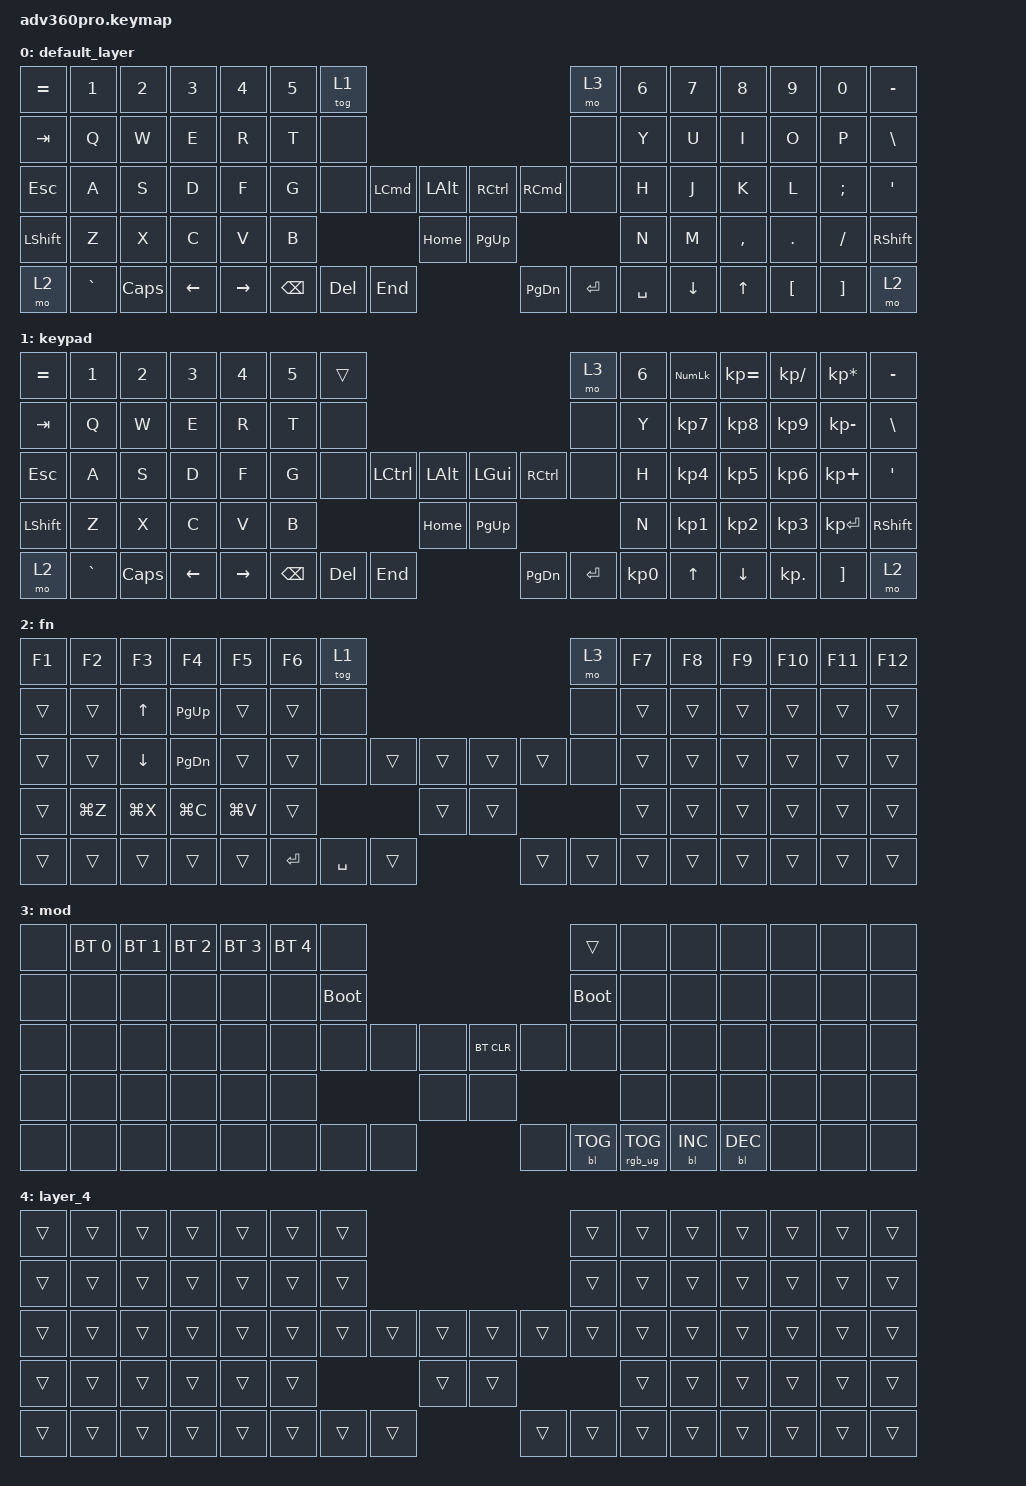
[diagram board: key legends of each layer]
#include <behaviors.dtsi>
#include <dt-bindings/zmk/backlight.h>
#include <dt-bindings/zmk/bt.h>
#include <dt-bindings/zmk/keys.h>
#include <dt-bindings/zmk/rgb.h>

/ {
    combos {
        compatible = "zmk,combos";

        handtoolfordesignprograms {
            bindings = <&kp ENTER>;
            key-positions = <46 28>;
        };
    };

    keymap {
        compatible = "zmk,keymap";

        default_layer {
            bindings = <
&kp EQUAL  &kp N1     &kp N2    &kp N3    &kp N4     &kp N5  &tog 1                                                                                                    &mo 3  &kp N6  &kp N7    &kp N8     &kp N9    &kp N0    &kp MINUS
&kp TAB    &kp Q      &kp W     &kp E     &kp R      &kp T   &none                                                                                                     &none  &kp Y   &kp U     &kp I      &kp O     &kp P     &kp BSLH
&kp ESC    &kp A      &kp S     &kp D     &kp F      &kp G   &none                  &kp LEFT_COMMAND  &kp LEFT_ALT    &kp RIGHT_CONTROL  &kp RIGHT_COMMAND             &none  &kp H   &kp J     &kp K      &kp L     &kp SEMI  &kp SQT
&kp LSHFT  &kp Z      &kp X     &kp C     &kp V      &kp B                                            &kp HOME        &kp PG_UP                                               &kp N   &kp M     &kp COMMA  &kp DOT   &kp FSLH  &kp RSHFT
&mo 2      &kp GRAVE  &kp CAPS  &kp LEFT  &kp RIGHT                  &kp BACKSPACE  &kp DEL           &kp END         &kp PG_DN          &kp ENTER          &kp SPACE                 &kp DOWN  &kp UP     &kp LBKT  &kp RBKT  &mo 2
            >;
        };

        keypad {
            bindings = <
&kp EQUAL  &kp N1     &kp N2    &kp N3    &kp N4     &kp N5  &trans                                                                    &mo 3  &kp N6  &kp KP_NUM  &kp KP_EQUAL  &kp KP_DIVIDE  &kp KP_MULTIPLY  &kp MINUS
&kp TAB    &kp Q      &kp W     &kp E     &kp R      &kp T   &none                                                                     &none  &kp Y   &kp KP_N7   &kp KP_N8     &kp KP_N9      &kp KP_MINUS     &kp BSLH
&kp ESC    &kp A      &kp S     &kp D     &kp F      &kp G   &none             &kp LCTRL  &kp LALT    &kp LGUI   &kp RCTRL             &none  &kp H   &kp KP_N4   &kp KP_N5     &kp KP_N6      &kp KP_PLUS      &kp SQT
&kp LSHFT  &kp Z      &kp X     &kp C     &kp V      &kp B                                &kp HOME    &kp PG_UP                               &kp N   &kp KP_N1   &kp KP_N2     &kp KP_N3      &kp KP_ENTER     &kp RSHFT
&mo 2      &kp GRAVE  &kp CAPS  &kp LEFT  &kp RIGHT                  &kp BSPC  &kp DEL    &kp END     &kp PG_DN  &kp ENTER  &kp KP_N0                 &kp UP      &kp DOWN      &kp KP_DOT     &kp RBKT         &mo 2
            >;
        };

        fn {
            bindings = <
&kp F1  &kp F2     &kp F3          &kp F4         &kp F5     &kp F6  &tog 1                                                          &mo 3  &kp F7  &kp F8  &kp F9  &kp F10  &kp F11  &kp F12
&trans  &trans     &kp UP_ARROW    &kp PAGE_UP    &trans     &trans  &none                                                           &none  &trans  &trans  &trans  &trans   &trans   &trans
&trans  &trans     &kp DOWN_ARROW  &kp PAGE_DOWN  &trans     &trans  &none              &trans     &trans    &trans  &trans          &none  &trans  &trans  &trans  &trans   &trans   &trans
&trans  &kp LG(Z)  &kp LG(X)       &kp LG(C)      &kp LG(V)  &trans                                &trans    &trans                         &trans  &trans  &trans  &trans   &trans   &trans
&trans  &trans     &trans          &trans         &trans                     &kp ENTER  &kp SPACE  &trans    &trans  &trans  &trans                 &trans  &trans  &trans   &trans   &trans
            >;
        };

        mod {
            bindings = <
&none  &bt BT_SEL 0  &bt BT_SEL 1  &bt BT_SEL 2  &bt BT_SEL 3  &bt BT_SEL 4  &none                                                                        &trans       &none  &none       &none       &none  &none  &none
&none  &none         &none         &none         &none         &none         &bootloader                                                                  &bootloader  &none  &none       &none       &none  &none  &none
&none  &none         &none         &none         &none         &none         &none               &none  &none    &bt BT_CLR  &none                        &none        &none  &none       &none       &none  &none  &none
&none  &none         &none         &none         &none         &none                                    &none    &none                                                 &none  &none       &none       &none  &none  &none
&none  &none         &none         &none         &none                                    &none  &none  &none    &none       &bl BL_TOG  &rgb_ug RGB_TOG                      &bl BL_INC  &bl BL_DEC  &none  &none  &none
            >;
        };

        layer_4 {
            bindings = <
&trans  &trans  &trans  &trans  &trans  &trans  &trans                                                    &trans  &trans  &trans  &trans  &trans  &trans  &trans
&trans  &trans  &trans  &trans  &trans  &trans  &trans                                                    &trans  &trans  &trans  &trans  &trans  &trans  &trans
&trans  &trans  &trans  &trans  &trans  &trans  &trans          &trans  &trans    &trans  &trans          &trans  &trans  &trans  &trans  &trans  &trans  &trans
&trans  &trans  &trans  &trans  &trans  &trans                          &trans    &trans                          &trans  &trans  &trans  &trans  &trans  &trans
&trans  &trans  &trans  &trans  &trans                  &trans  &trans  &trans    &trans  &trans  &trans                  &trans  &trans  &trans  &trans  &trans
            >;
        };
    };
};
